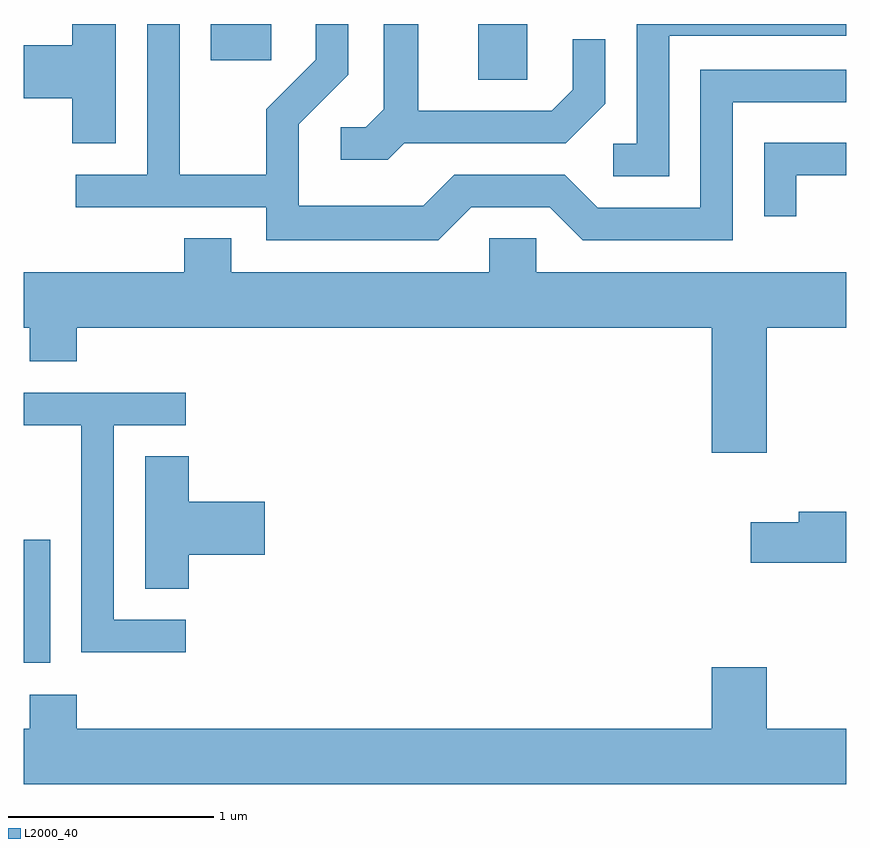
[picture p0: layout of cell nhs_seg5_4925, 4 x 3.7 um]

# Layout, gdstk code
import gdstk
lib = gdstk.Library(unit=1e-6, precision=1e-09)
def R(c, l, rs):  # rectangles x0, y0, x1, y1
    for r in rs: c.add(gdstk.rectangle(r[:2], r[2:], *l))
def P(c, l, *ps):  # polygons
    for p in ps: c.add(gdstk.Polygon(p, *l))
L2000_40 = (2000, 40)

nhs_seg5_4925 = lib.new_cell('nhs_seg5_4925')
R(nhs_seg5_4925, L2000_40, [(331.611,1432.966,331.739,1433.564), (333.821,1435.801,334.059,1436.072), (332.521,1435.896,332.814,1436.072)])
P(nhs_seg5_4925, L2000_40, [(333.462,1435.491),(334.247,1435.491),(334.439,1435.684),(334.439,1435.998),(334.281,1435.998),(334.281,1435.752),(334.179,1435.649),(333.529,1435.649),(333.529,1436.072),(333.361,1436.072),(333.361,1435.657),(333.274,1435.569),(333.153,1435.569),(333.153,1435.411),(333.382,1435.411)],
  [(334.749,1436.016),(335.611,1436.016),(335.611,1436.072),(334.591,1436.072),(334.591,1435.489),(334.478,1435.489),(334.478,1435.331),(334.749,1435.331)],
  [(332.059,1436.072),(331.846,1436.072),(331.846,1435.969),(331.611,1435.969),(331.611,1435.711),(331.846,1435.711),(331.846,1435.491),(332.059,1435.491)],
  [(333.787,1435.181),(334.169,1435.181),(334.329,1435.021),(335.059,1435.021),(335.059,1435.691),(335.611,1435.691),(335.611,1435.849),(334.901,1435.849),(334.901,1435.179),(334.402,1435.179),(334.242,1435.339),(333.704,1435.339),(333.554,1435.189),(332.949,1435.189),(332.949,1435.584),(333.189,1435.824),(333.189,1436.072),(333.031,1436.072),(333.031,1435.897),(332.791,1435.657),(332.791,1435.339),(332.369,1435.339),(332.369,1436.072),(332.211,1436.072),(332.211,1435.339),(331.863,1435.339),(331.863,1435.181),(332.791,1435.181),(332.791,1435.021),(333.627,1435.021)],
  [(335.369,1435.336),(335.611,1435.336),(335.611,1435.494),(335.211,1435.494),(335.211,1435.138),(335.369,1435.138)],
  [(335.224,1434.596),(335.611,1434.596),(335.611,1434.864),(334.104,1434.864),(334.104,1435.029),(333.876,1435.029),(333.876,1434.864),(332.619,1434.864),(332.619,1435.029),(332.391,1435.029),(332.391,1434.864),(331.611,1434.864),(331.611,1434.596),(331.641,1434.596),(331.641,1434.431),(331.869,1434.431),(331.869,1434.596),(334.956,1434.596),(334.956,1433.986),(335.224,1433.986)],
  [(332.398,1433.174),(332.049,1433.174),(332.049,1434.121),(332.398,1434.121),(332.398,1434.279),(331.611,1434.279),(331.611,1434.121),(331.891,1434.121),(331.891,1433.016),(332.398,1433.016)],
  [(332.414,1433.491),(332.784,1433.491),(332.784,1433.749),(332.414,1433.749),(332.414,1433.969),(332.201,1433.969),(332.201,1433.326),(332.414,1433.326)],
  [(335.611,1433.699),(335.381,1433.699),(335.381,1433.649),(335.146,1433.649),(335.146,1433.451),(335.611,1433.451)],
  [(335.611,1432.644),(335.224,1432.644),(335.224,1432.944),(334.956,1432.944),(334.956,1432.644),(331.869,1432.644),(331.869,1432.809),(331.641,1432.809),(331.641,1432.644),(331.611,1432.644),(331.611,1432.376),(335.611,1432.376)])

lib.write_gds('nhs_seg5_4925.gds')
